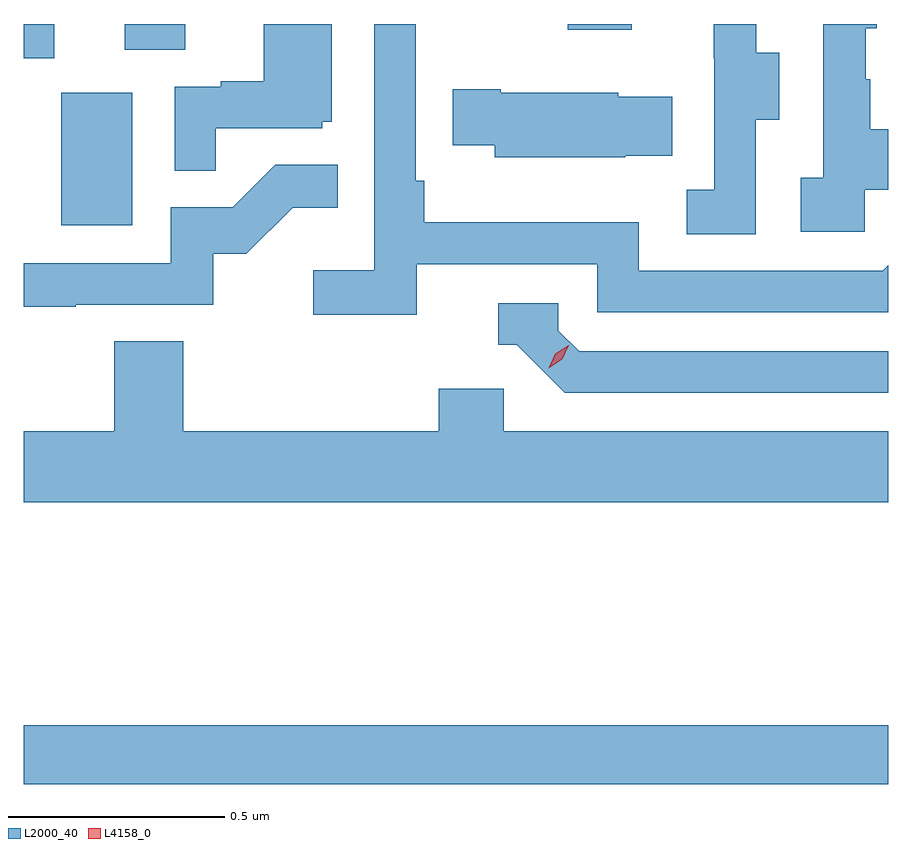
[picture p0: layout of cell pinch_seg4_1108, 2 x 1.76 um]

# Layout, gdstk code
import gdstk
lib = gdstk.Library(unit=1e-6, precision=1e-09)
def R(c, l, rs):  # rectangles x0, y0, x1, y1
    for r in rs: c.add(gdstk.rectangle(r[:2], r[2:], *l))
def P(c, l, *ps):  # polygons
    for p in ps: c.add(gdstk.Polygon(p, *l))
L2000_40 = (2000, 40)
L4158_0 = (4158, 0)

pinch_seg4_1108 = lib.new_cell('pinch_seg4_1108')
R(pinch_seg4_1108, L2000_40, [(860.759,758.872,862.759,759.008), (860.846,760.164,861.01,760.471), (860.759,760.551,860.83,760.63), (860.993,760.57,861.133,760.63), (862.018,760.617,862.165,760.63)])
P(pinch_seg4_1108, L2000_40, [(861.203,760.389),(861.45,760.389),(861.45,760.404),(861.472,760.404),(861.472,760.63),(861.314,760.63),(861.314,760.498),(861.215,760.498),(861.215,760.485),(861.108,760.485),(861.108,760.291),(861.203,760.291)],
  [(861.668,760.074),(862.086,760.074),(862.086,759.963),(862.759,759.963),(862.759,760.072),(862.746,760.059),(862.182,760.059),(862.182,760.171),(861.686,760.171),(861.686,760.267),(861.666,760.267),(861.666,760.63),(861.57,760.63),(861.57,760.06),(861.429,760.06),(861.429,759.958),(861.668,759.958)],
  [(862.704,760.247),(862.759,760.247),(862.759,760.387),(862.717,760.387),(862.717,760.502),(862.707,760.502),(862.707,760.62),(862.732,760.62),(862.732,760.63),(862.608,760.63),(862.608,760.274),(862.557,760.274),(862.557,760.149),(862.704,760.149)],
  [(862.452,760.408),(862.507,760.408),(862.507,760.563),(862.453,760.563),(862.453,760.63),(862.355,760.63),(862.355,760.551),(862.356,760.551),(862.356,760.247),(862.293,760.247),(862.293,760.144),(862.452,760.144)],
  [(862.151,760.325),(862.259,760.325),(862.259,760.462),(862.134,760.462),(862.134,760.471),(861.862,760.471),(861.862,760.479),(861.751,760.479),(861.751,760.349),(861.849,760.349),(861.849,760.322),(862.151,760.322)],
  [(860.879,759.981),(861.198,759.981),(861.198,760.098),(861.274,760.098),(861.381,760.205),(861.485,760.205),(861.485,760.304),(861.341,760.304),(861.243,760.206),(861.099,760.206),(861.099,760.077),(860.759,760.077),(860.759,759.976),(860.879,759.976)],
  [(862.759,759.873),(862.044,759.873),(861.996,759.921),(861.996,759.984),(861.857,759.984),(861.857,759.888),(861.9,759.888),(862.011,759.777),(862.759,759.777)],
  [(862.759,759.688),(861.87,759.688),(861.87,759.786),(861.719,759.786),(861.719,759.688),(861.128,759.688),(861.128,759.896),(860.968,759.896),(860.968,759.688),(860.759,759.688),(860.759,759.524),(862.759,759.524)])
P(pinch_seg4_1108, L4158_0, [(861.974,759.834),(861.974,759.834),(861.989,759.867),(862.02,759.887),(862.02,759.887),(862.02,759.887),(862.005,759.854),(861.974,759.834)])

lib.write_gds('pinch_seg4_1108.gds')
